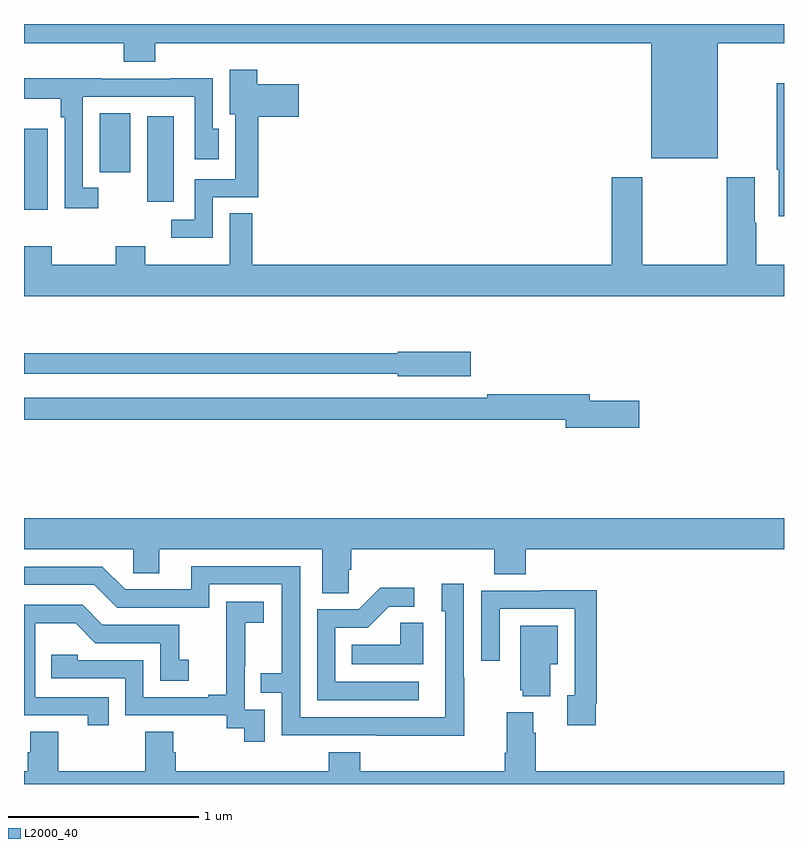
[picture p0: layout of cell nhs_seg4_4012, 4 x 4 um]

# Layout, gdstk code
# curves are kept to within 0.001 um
import gdstk
lib = gdstk.Library(unit=1e-6, precision=1e-09)
def R(c, l, rs):  # rectangles x0, y0, x1, y1
    for r in rs: c.add(gdstk.rectangle(r[:2], r[2:], *l))
def P(c, l, *ps):  # polygons
    for p in ps: c.add(gdstk.Polygon(p, *l))
L2000_40 = (2000, 40)

nhs_seg4_4012 = lib.new_cell('nhs_seg4_4012')
R(nhs_seg4_4012, L2000_40, [(323,815.922,323.125,816.349), (323.648,815.964,323.788,816.415), (323.399,816.12,323.56,816.431)])
P(nhs_seg4_4012, L2000_40, [(323,816.8),(323.525,816.8),(323.525,816.701),(323.69,816.701),(323.69,816.8),(326.3,816.8),(326.3,816.194),(326.65,816.194),(326.65,816.8),(327,816.8),(327,816.9),(323,816.9)],
  [(323.994,815.988),(324.232,815.988),(324.232,816.413),(324.445,816.413),(324.445,816.583),(324.227,816.583),(324.227,816.658),(324.083,816.658),(324.083,816.425),(324.113,816.425),(324.113,816.084),(323.898,816.084),(323.898,815.871),(323.775,815.871),(323.775,815.774),(323.994,815.774)],
  [(323.392,816.039),(323.31,816.039),(323.31,816.516),(323.898,816.516),(323.898,816.189),(324.025,816.189),(324.025,816.348),(323.994,816.348),(323.994,816.614),(323.773,816.614),(323.773,816.612),(323.407,816.612),(323.407,816.614),(323,816.614),(323,816.506),(323.194,816.506),(323.194,816.41),(323.214,816.41),(323.214,815.931),(323.392,815.931)],
  [(327,816.589),(326.961,816.589),(326.961,816.133),(326.973,816.133),(326.973,815.889),(327,815.889)],
  [(327,815.632),(326.853,815.632),(326.853,815.855),(326.845,815.855),(326.845,816.094),(326.698,816.094),(326.698,815.632),(326.253,815.632),(326.253,816.094),(326.093,816.094),(326.093,815.632),(324.202,815.632),(324.202,815.903),(324.083,815.903),(324.083,815.632),(323.637,815.632),(323.637,815.731),(323.482,815.731),(323.482,815.632),(323.145,815.632),(323.145,815.731),(323,815.731),(323,815.468),(327,815.468)],
  [(325.351,815.175),(324.966,815.175),(324.966,815.167),(323,815.167),(323,815.058),(324.966,815.058),(324.966,815.045),(325.351,815.045)],
  [(326.239,814.916),(325.978,814.916),(325.978,814.952),(325.438,814.952),(325.438,814.932),(323,814.932),(323,814.816),(325.85,814.816),(325.85,814.774),(326.239,814.774)],
  [(324.708,814.027),(324.722,814.027),(324.722,814.136),(325.475,814.136),(325.475,814.003),(325.64,814.003),(325.64,814.136),(327,814.136),(327,814.3),(323,814.3),(323,814.136),(323.574,814.136),(323.574,814.009),(323.713,814.009),(323.713,814.136),(324.569,814.136),(324.569,813.904),(324.708,813.904)],
  [(325.317,813.461),(325.314,813.461),(325.314,813.955),(325.199,813.955),(325.199,813.81),(325.218,813.81),(325.218,813.252),(324.453,813.252),(324.453,814.047),(323.879,814.047),(323.879,813.924),(323.532,813.924),(323.412,814.044),(323,814.044),(323,813.948),(323.37,813.948),(323.49,813.828),(323.976,813.828),(323.976,813.951),(324.357,813.951),(324.357,813.482),(324.247,813.482),(324.247,813.381),(324.357,813.381),(324.357,813.156),(325.317,813.155)],
  [(325.078,813.438),(324.639,813.438),(324.639,813.723),(324.808,813.723),(324.919,813.834),(325.054,813.834),(325.054,813.932),(324.875,813.932),(324.762,813.819),(324.543,813.819),(324.543,813.342),(325.078,813.342)],
  [(326.008,813.322),(326.015,813.322),(326.015,813.92),(325.723,813.92),(325.723,813.918),(325.407,813.918),(325.407,813.549),(325.503,813.549),(325.503,813.822),(325.899,813.822),(325.899,813.366),(325.859,813.366),(325.859,813.21),(326.008,813.21)],
  [(324.267,813.291),(324.162,813.291),(324.162,813.521),(324.164,813.521),(324.164,813.749),(324.262,813.749),(324.262,813.859),(324.064,813.859),(324.064,813.653),(324.065,813.653),(324.065,813.37),(323.969,813.37),(323.969,813.357),(323.628,813.357),(323.628,813.552),(323.283,813.552),(323.283,813.579),(323.143,813.579),(323.143,813.456),(323.532,813.456),(323.532,813.261),(324.066,813.261),(324.066,813.193),(324.159,813.193),(324.159,813.123),(324.267,813.123)],
  [(323.447,813.357),(323.058,813.357),(323.058,813.746),(323.272,813.746),(323.376,813.642),(323.718,813.642),(323.718,813.444),(323.866,813.444),(323.866,813.553),(323.817,813.553),(323.817,813.738),(323.413,813.738),(323.308,813.843),(323,813.843),(323,813.261),(323.336,813.261),(323.336,813.21),(323.447,813.21)],
  [(325.102,813.749),(324.981,813.749),(324.981,813.634),(324.724,813.634),(324.724,813.53),(325.102,813.53)],
  [(325.771,813.53),(325.81,813.53),(325.81,813.733),(325.613,813.733),(325.613,813.393),(325.625,813.393),(325.625,813.362),(325.771,813.362)],
  [(327,812.968),(325.694,812.968),(325.694,813.17),(325.681,813.17),(325.681,813.277),(325.541,813.277),(325.541,813.064),(325.529,813.064),(325.529,812.968),(324.77,812.968),(324.77,813.067),(324.605,813.067),(324.605,812.968),(323.798,812.968),(323.798,813.066),(323.785,813.066),(323.785,813.176),(323.638,813.176),(323.638,812.968),(323.181,812.968),(323.181,813.176),(323.033,813.176),(323.033,813.066),(323.021,813.066),(323.021,812.968),(323,812.968),(323,812.9),(327,812.9)])

lib.write_gds('nhs_seg4_4012.gds')
